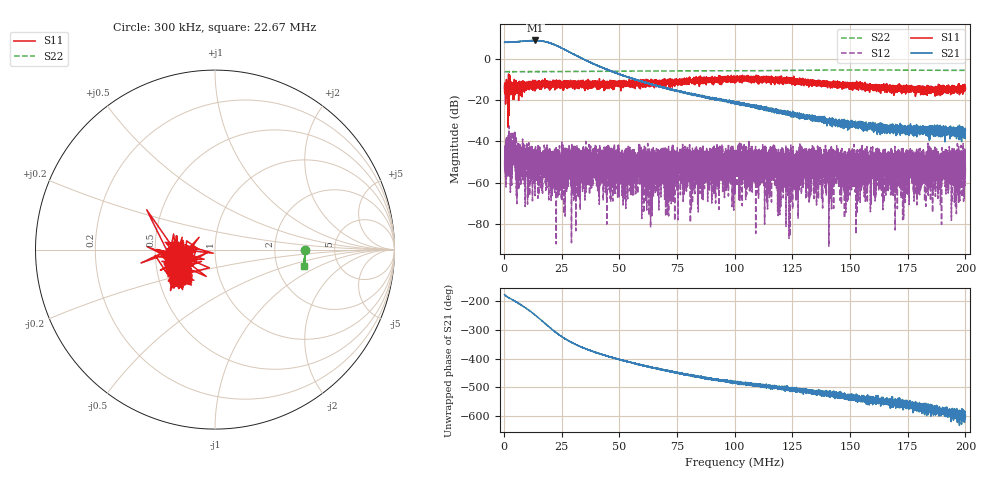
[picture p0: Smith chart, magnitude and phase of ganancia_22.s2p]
# Hz S DB R 50
! CMT, M5065, 19127446, 24.2.4/2
! Date: 11/8/2024 2:56:28 PM
! Data: Format (Calibration Info)
! Freq	S11:dB/Ang(F2)	S21:dB/Ang(F2)	S12:dB/Ang(F2)	S22:dB/Ang(F2)
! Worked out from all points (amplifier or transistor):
!   9000 points, 300 kHz to 200 MHz, reference 50 ohm
!   highest |S21| = 9.2 dB at 13.61 MHz (marker M1)
!   |S21| within 3 dB of that: start of sweep to 23.7 MHz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
!   unconditionally stable (mu >= 1): start of sweep to end of sweep
!   at 33.59 MHz: K = 66.88, MAG = 2.1 dB, |S12| = -46.2 dB
!   at 100.2 MHz: K = 847.34, MAG = -19.1 dB, |S12| = -47.3 dB
!   at 200 MHz: K = 7600.05, MAG = -32.7 dB, |S12| = -52.5 dB
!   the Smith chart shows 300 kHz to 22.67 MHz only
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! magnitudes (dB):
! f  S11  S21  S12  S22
! 300 kHz  -13.3  8.3  -49.1  -6.0
! 4.05 MHz  -16.7  8.4  -45.0  -6.0
! 6.269 MHz  -12.6  8.7  -44.1  -6.0
! 13.61 MHz  -10.2  9.2  -52.5  -6.0
! 25.6 MHz  -10.9  5.2  -48.0  -6.0
! 33.59 MHz  -12.6  0.6  -46.2  -5.9
! 66.87 MHz  -11.7  -13.3  -48.8  -5.7
! 70.74 MHz  -10.5  -14.0  -47.7  -5.6
! 79.48 MHz  -10.6  -16.6  -46.1  -5.6
! 92.24 MHz  -10.4  -19.3  -61.9  -5.6
! 100.2 MHz  -10.5  -20.9  -47.3  -5.6
! 112.7 MHz  -8.8  -23.7  -52.4  -5.5
! 114.7 MHz  -9.9  -24.3  -48.5  -5.5
! 116.5 MHz  -10.2  -24.0  -48.8  -5.5
! 119.1 MHz  -10.4  -25.7  -46.7  -5.4
! 133.4 MHz  -11.9  -28.1  -56.2  -5.3
! 140.6 MHz  -12.1  -30.9  -51.6  -5.2
! 144 MHz  -11.7  -30.9  -61.1  -5.2
! 148 MHz  -13.5  -31.6  -56.3  -5.2
! 154.8 MHz  -12.1  -32.6  -45.2  -5.2
! 166.7 MHz  -13.7  -33.3  -45.1  -5.2
! 200 MHz  -14.6  -34.4  -52.5  -5.3
